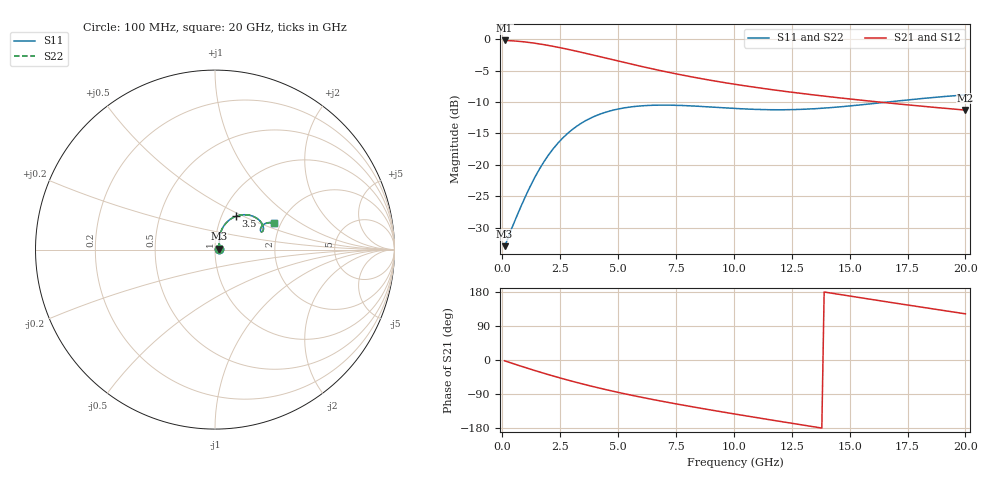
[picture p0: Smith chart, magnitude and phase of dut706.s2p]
! Touchstone file exported from HFSS 2024.1.0
!  File:  C:/UserFiles/LocalFiles/RDL_TSV_Batchsim/temp_RDL_TSV_706_1779886936.aedt
!  Generated:  09:18:23 PM May 27, 2026
!  Design:  RDL_TSV
!  Project:  temp_RDL_TSV_706_1779886936
!  Setup:  Setup1
!  Solution:  Sweep
! Variables:
!  dtsv = 7.16um
!  hbump = 3um
!  htsv = 92.13um
!  ldown = 377.44um
!  lrdl = 537.65um
!  p = 40
!  p1 = 58.37um
!  rhole = 10um
!  subl = 3282.92um
!  t = 450um
!  tdown = 3um
!  trdl = 2.69um
!  viad = 10um
!  wdown = 13.13um
!  wrdl = 27.03um
!  xbump = 18um
# GHz S MA R 50.000000
! Terminal data exported
! Port[1] = TM1_1_T1
! Port[2] = TM1_4_T1
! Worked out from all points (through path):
!   200 points, 100 MHz to 20 GHz, reference 50 ohm
!   highest |S21| = -0.19 dB at 100 MHz (marker M1); lowest = -11.3 dB at 20 GHz (marker M2)
!   group delay of S21, straight-line fit = 31.1 ps
!   lowest |S11| = -32.9 dB at 100 MHz (marker M3), VSWR 1.05, Z = 52.2 + j0.579 ohm
!   |S11| at or under -10 dB: start of sweep to 16.64 GHz
!   |S22| runs from -32.9 to -8.9 dB; largest |S21 - S12| = 3.7e-14
!   S11 on the Smith chart (normalised r, x): 100 MHz: 1.04, +0.01; 3.5 GHz: 1.17, +0.46; 20 GHz: 1.84, +0.63
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0.1  0.02254 14.2  0.9779 -2.1  0.9779 -2.1  0.02254 14.2
! Gamma 0 0 0 0
! Port Impedance 50 0 50 0
0.5  0.03437 46.7  0.9694 -10.2  0.9694 -10.2  0.03437 46.7
0.9  0.05105 62.3  0.955 -18.1  0.955 -18.1  0.05104 62.2
1.4  0.07923 70.6  0.93 -27.7  0.93 -27.7  0.07918 70.6
1.8  0.106 71.8  0.9054 -35.1  0.9054 -35.1  0.1059 71.7
2.2  0.1345 70.2  0.8781 -42.3  0.8781 -42.3  0.1344 70.2
2.6  0.1628 67.1  0.8489 -49.2  0.8489 -49.2  0.1627 67.0
3  0.1896 63.1  0.8187 -55.8  0.8187 -55.8  0.1894 63.1
3.5  0.2194 57.8  0.7805 -63.8  0.7805 -63.8  0.2192 57.7
4.2  0.2526 50.3  0.7279 -74.3  0.7279 -74.3  0.2524 50.3
5.1  0.2807 41.6  0.6646 -86.7  0.6646 -86.7  0.2804 41.6
5.9  0.2939 35.2  0.614 -97.0  0.614 -97.0  0.2936 35.2
6.8  0.299 29.4  0.5643 -107.8  0.5643 -107.8  0.2987 29.4
7.5  0.2981 26.1  0.5306 -115.8  0.5306 -115.8  0.2978 26.0
8.3  0.2939 23.3  0.4969 -124.5  0.4969 -124.5  0.2936 23.3
10.1  0.2809 20.8  0.4363 -143.2  0.4363 -143.2  0.2807 20.8
11.7  0.2746 22.0  0.3956 -159.1  0.3956 -159.1  0.2744 21.9
13.4  0.2793 24.7  0.3613 -175.7  0.3613 -175.7  0.2791 24.6
15.1  0.2955 26.8  0.3331 167.9  0.3331 167.9  0.2952 26.7
16.7  0.3171 27.4  0.3105 152.6  0.3105 152.6  0.3167 27.2
18.3  0.3397 26.4  0.2909 137.6  0.2909 137.6  0.3391 26.3
20  0.3605 24.3  0.2729 121.9  0.2729 121.9  0.3597 24.1
